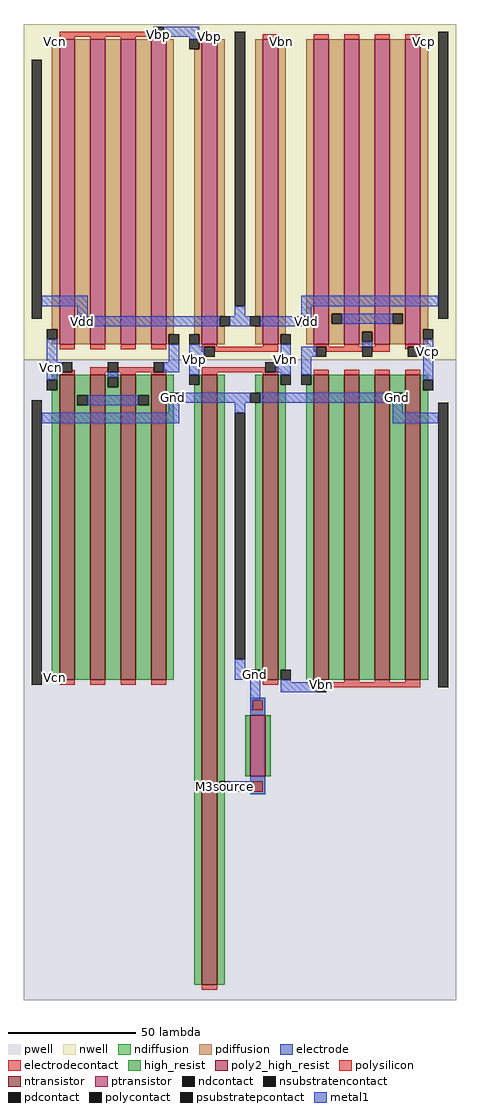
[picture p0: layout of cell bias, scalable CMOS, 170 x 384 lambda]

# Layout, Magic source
magic
tech scmos
<< nwell >>
rect 13 -30 183 102
<< pwell >>
rect 13 -282 183 -30
<< electrode >>
rect 102 -170 108 -163
rect 102 -201 108 -194
<< electrodecontact >>
rect 103 -168 107 -164
rect 103 -200 107 -196
<< ntransistor >>
rect 27 -156 33 -36
rect 39 -156 45 -36
rect 51 -156 57 -36
rect 63 -156 69 -36
rect 83 -276 89 -36
rect 107 -156 113 -36
rect 127 -156 133 -36
rect 139 -156 145 -36
rect 151 -156 157 -36
rect 163 -156 169 -36
<< ptransistor >>
rect 27 -24 33 96
rect 39 -24 45 96
rect 51 -24 57 96
rect 63 -24 69 96
rect 83 -24 89 96
rect 107 -24 113 96
rect 127 -24 133 96
rect 139 -24 145 96
rect 151 -24 157 96
rect 163 -24 169 96
<< ndiffusion >>
rect 24 -38 27 -36
rect 26 -42 27 -38
rect 24 -156 27 -42
rect 33 -44 39 -36
rect 33 -48 34 -44
rect 38 -48 39 -44
rect 33 -156 39 -48
rect 45 -37 51 -36
rect 45 -41 46 -37
rect 50 -41 51 -37
rect 45 -156 51 -41
rect 57 -44 63 -36
rect 57 -48 58 -44
rect 62 -48 63 -44
rect 57 -156 63 -48
rect 69 -43 72 -36
rect 82 -40 83 -36
rect 69 -47 70 -43
rect 69 -156 72 -47
rect 80 -276 83 -40
rect 89 -196 92 -36
rect 104 -43 107 -36
rect 106 -47 107 -43
rect 104 -152 107 -47
rect 106 -156 107 -152
rect 113 -40 114 -36
rect 126 -40 127 -36
rect 113 -152 116 -40
rect 113 -156 114 -152
rect 124 -156 127 -40
rect 133 -156 139 -36
rect 145 -156 151 -36
rect 157 -43 163 -36
rect 157 -47 158 -43
rect 162 -47 163 -43
rect 157 -156 163 -47
rect 169 -38 172 -36
rect 169 -42 170 -38
rect 169 -156 172 -42
rect 89 -200 90 -196
rect 89 -276 92 -200
<< pdiffusion >>
rect 24 -18 27 96
rect 26 -22 27 -18
rect 24 -24 27 -22
rect 33 -13 39 96
rect 33 -17 34 -13
rect 38 -17 39 -13
rect 33 -24 39 -17
rect 45 -24 51 96
rect 57 -24 63 96
rect 69 -20 72 96
rect 82 92 83 96
rect 80 -20 83 92
rect 69 -24 70 -20
rect 82 -24 83 -20
rect 89 -13 92 96
rect 104 -13 107 96
rect 89 -17 90 -13
rect 106 -17 107 -13
rect 89 -24 92 -17
rect 104 -24 107 -17
rect 113 -20 116 96
rect 124 -13 127 96
rect 126 -17 127 -13
rect 113 -24 114 -20
rect 124 -24 127 -17
rect 133 -12 139 96
rect 133 -16 134 -12
rect 138 -16 139 -12
rect 133 -24 139 -16
rect 145 -19 151 96
rect 145 -23 146 -19
rect 150 -23 151 -19
rect 145 -24 151 -23
rect 157 -12 163 96
rect 157 -16 158 -12
rect 162 -16 163 -12
rect 157 -24 163 -16
rect 169 -18 172 96
rect 169 -22 170 -18
rect 169 -24 172 -22
<< ndcontact >>
rect 22 -42 26 -38
rect 34 -48 38 -44
rect 46 -41 50 -37
rect 58 -48 62 -44
rect 78 -40 82 -36
rect 70 -47 74 -43
rect 102 -47 106 -43
rect 102 -156 106 -152
rect 114 -40 118 -36
rect 122 -40 126 -36
rect 114 -156 118 -152
rect 158 -47 162 -43
rect 170 -42 174 -38
rect 90 -200 94 -196
<< pdcontact >>
rect 22 -22 26 -18
rect 34 -17 38 -13
rect 78 92 82 96
rect 70 -24 74 -20
rect 78 -24 82 -20
rect 90 -17 94 -13
rect 102 -17 106 -13
rect 122 -17 126 -13
rect 114 -24 118 -20
rect 134 -16 138 -12
rect 146 -23 150 -19
rect 158 -16 162 -12
rect 170 -22 174 -18
<< psubstratepcontact >>
rect 16 -158 20 -46
rect 96 -148 100 -51
rect 176 -159 180 -47
<< nsubstratencontact >>
rect 16 -14 20 88
rect 96 -9 100 99
rect 176 -14 180 99
<< polysilicon >>
rect 27 97 64 99
rect 68 97 69 99
rect 27 96 33 97
rect 39 96 45 97
rect 51 96 57 97
rect 63 96 69 97
rect 83 96 89 98
rect 107 96 113 98
rect 127 96 133 98
rect 139 96 145 98
rect 151 96 157 98
rect 163 96 169 98
rect 27 -26 33 -24
rect 39 -26 45 -24
rect 51 -26 57 -24
rect 63 -26 69 -24
rect 83 -25 89 -24
rect 107 -25 113 -24
rect 83 -27 84 -25
rect 88 -27 113 -25
rect 127 -25 133 -24
rect 139 -25 145 -24
rect 151 -25 157 -24
rect 127 -27 128 -25
rect 132 -27 146 -25
rect 150 -27 157 -25
rect 163 -25 169 -24
rect 163 -26 164 -25
rect 168 -26 169 -25
rect 27 -35 28 -34
rect 32 -35 33 -34
rect 27 -36 33 -35
rect 39 -35 46 -33
rect 50 -35 64 -33
rect 68 -35 69 -34
rect 39 -36 45 -35
rect 51 -36 57 -35
rect 63 -36 69 -35
rect 83 -35 108 -33
rect 112 -35 113 -33
rect 83 -36 89 -35
rect 107 -36 113 -35
rect 127 -36 133 -34
rect 139 -36 145 -34
rect 151 -36 157 -34
rect 163 -36 169 -34
rect 27 -158 33 -156
rect 39 -158 45 -156
rect 51 -158 57 -156
rect 63 -158 69 -156
rect 107 -158 113 -156
rect 127 -157 133 -156
rect 139 -157 145 -156
rect 151 -157 157 -156
rect 163 -157 169 -156
rect 127 -159 128 -157
rect 132 -159 169 -157
rect 83 -278 89 -276
<< polycontact >>
rect 64 97 68 101
rect 84 -29 88 -25
rect 128 -29 132 -25
rect 146 -29 150 -25
rect 164 -29 168 -25
rect 28 -35 32 -31
rect 46 -35 50 -31
rect 64 -35 68 -31
rect 108 -35 112 -31
rect 128 -161 132 -157
<< metal1 >>
rect 68 97 82 101
rect 78 96 82 97
rect 20 -9 38 -5
rect 34 -13 38 -9
rect 96 -13 100 -9
rect 122 -9 176 -5
rect 122 -13 126 -9
rect 38 -17 90 -13
rect 94 -17 102 -13
rect 106 -17 122 -13
rect 138 -16 158 -12
rect 22 -31 26 -22
rect 70 -31 74 -24
rect 22 -35 28 -31
rect 68 -35 74 -31
rect 78 -25 82 -24
rect 78 -29 84 -25
rect 22 -38 26 -35
rect 46 -37 50 -35
rect 78 -36 82 -29
rect 114 -31 118 -24
rect 146 -25 150 -23
rect 170 -25 174 -22
rect 112 -35 118 -31
rect 114 -36 118 -35
rect 122 -29 128 -25
rect 168 -29 174 -25
rect 122 -36 126 -29
rect 170 -38 174 -29
rect 38 -48 58 -44
rect 74 -47 102 -43
rect 106 -47 158 -43
rect 70 -51 74 -47
rect 20 -55 74 -51
rect 96 -51 100 -47
rect 158 -51 162 -47
rect 158 -55 176 -51
rect 96 -152 100 -148
rect 96 -156 102 -152
rect 102 -164 106 -156
rect 114 -157 118 -156
rect 114 -161 128 -157
rect 102 -168 103 -164
rect 94 -200 103 -196
<< high_resist >>
rect 100 -194 102 -170
rect 108 -194 110 -170
<< poly2_high_resist >>
rect 102 -194 108 -170
<< labels >>
rlabel polysilicon 63 97 69 99 5 Vbp
rlabel metal1 22 -35 26 -31 3 Vcn
rlabel metal1 78 -36 82 -24 1 Vbp
rlabel ndcontact 70 -47 74 -43 1 Gnd
rlabel pdcontact 34 -17 38 -13 1 Vdd
rlabel metal1 114 -36 118 -24 1 Vbn
rlabel metal1 170 -29 174 -25 7 Vcp
rlabel polysilicon 127 -159 133 -157 1 Vbn
rlabel ndcontact 158 -47 162 -43 1 Gnd
rlabel pdcontact 122 -17 126 -13 1 Vdd
rlabel ndcontact 90 -200 94 -196 1 M3source
rlabel ndcontact 102 -156 106 -152 1 Gnd
rlabel polysilicon 83 96 89 98 5 Vbp
rlabel pdiffusion 113 94 116 96 1 Vbn
rlabel pdiffusion 169 94 172 96 1 Vcp
rlabel polysilicon 163 96 169 98 5 Vcp
rlabel ndiffusion 24 -156 27 -154 1 Vcn
rlabel polysilicon 27 -158 33 -156 1 Vcn
rlabel pdiffusion 24 94 27 96 1 Vcn
<< end >>
